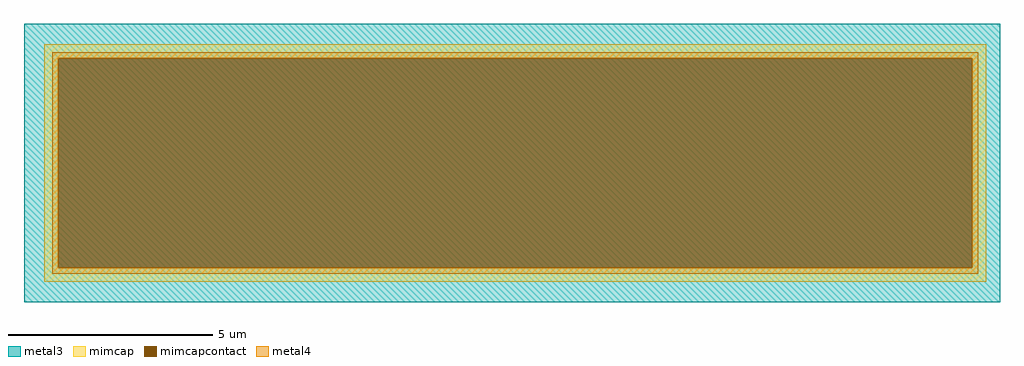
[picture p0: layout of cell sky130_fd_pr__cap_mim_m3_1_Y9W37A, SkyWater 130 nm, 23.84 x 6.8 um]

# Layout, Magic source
magic
tech sky130A
magscale 1 2
<< metal3 >>
rect -2450 -680 2318 680
<< mimcap >>
rect -2350 512 2250 580
rect -2350 -512 -2282 512
rect 2182 -512 2250 512
rect -2350 -580 2250 -512
<< mimcapcontact >>
rect -2282 -512 2182 512
<< metal4 >>
rect -2311 512 2211 541
rect -2311 -512 -2282 512
rect 2182 -512 2211 512
rect -2311 -541 2211 -512
<< properties >>
string FIXED_BBOX -2450 -680 2350 680
<< end >>
